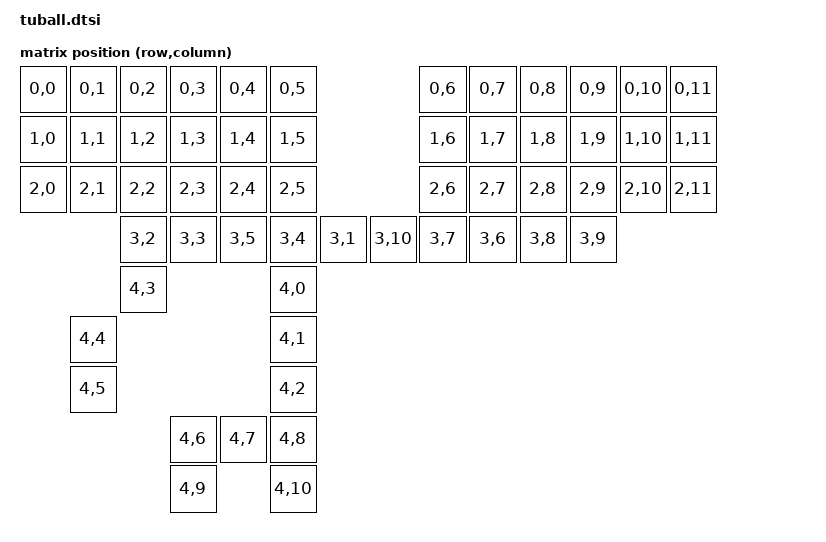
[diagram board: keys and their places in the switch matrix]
#include <dt-bindings/zmk/matrix_transform.h>

/ {
    chosen {
        zmk,physical-layout = &physical_layout0;
    };

    default_transform: keymap_transform_0 {
        compatible = "zmk,matrix-transform";
        columns = <12>;
        rows = <5>;
// | ESC  | Q | W | E | R | T |         | Y | U | I | O | P | BKSPC |
// | TAB  | A | S | D | F | G |         | H | J | K | L | ; | ENTER |
// | LCTR | Z | X | C | V | B |         | N | M | , | . | / | RCTR  | 
//            |WIN|ALT|RSE|SFT|SPC| |SPC|SFT|LOW|ALT|MNU|
        map = <
RC(0,0) RC(0,1) RC(0,2) RC(0,3) RC(0,4) RC(0,5)                  RC(0,6) RC(0,7) RC(0,8) RC(0,9) RC(0,10) RC(0,11)
RC(1,0) RC(1,1) RC(1,2) RC(1,3) RC(1,4) RC(1,5)                  RC(1,6) RC(1,7) RC(1,8) RC(1,9) RC(1,10) RC(1,11)
RC(2,0) RC(2,1) RC(2,2) RC(2,3) RC(2,4) RC(2,5)                  RC(2,6) RC(2,7) RC(2,8) RC(2,9) RC(2,10) RC(2,11)
	                RC(3,2) RC(3,3) RC(3,5) RC(3,4) RC(3,1) RC(3,10) RC(3,7) RC(3,6) RC(3,8) RC(3,9)

		/* Trackball buttons/switches are considered as row 4 */
		                 /* Ball */
	         	RC(4,3)              RC(4,0) 
		 RC(4,4)                            RC(4,1)
   		 RC(4,5) 	                    RC(4,2) 
                  /* Buttons on top of the middle deck */
  		       /* Unlock  BTSelect BTReset */ 
                          RC(4,6) RC(4,7)  RC(4,8)        
               /* Slider switches on the bottom of the middle deck */
		/* Handiness L/R   Orientation Thumb/Fingers  */
                      RC(4,9)               RC(4,10)      


        >;
    };
};
